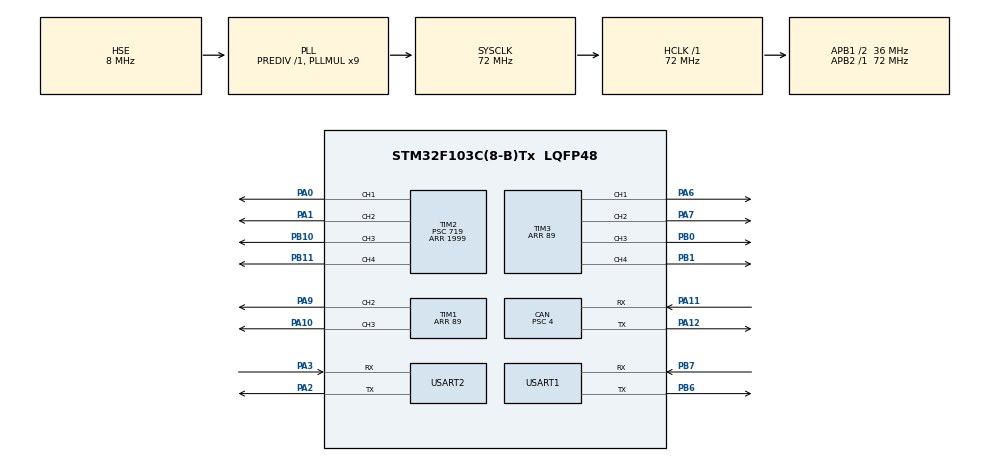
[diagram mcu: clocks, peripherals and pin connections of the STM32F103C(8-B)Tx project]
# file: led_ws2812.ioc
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CAN.BS1=CAN_BS1_4TQ
CAN.BS2=CAN_BS2_4TQ
CAN.CalculateBaudRate=1000000
CAN.CalculateTimeBit=1000
CAN.CalculateTimeQuantum=111.11111111111111
CAN.Prescaler=4
Dma.Request0=TIM3_CH1/TRIG
Dma.Request1=TIM1_CH2
Dma.TIM1_CH2.1.Direction=DMA_MEMORY_TO_PERIPH
Dma.TIM1_CH2.1.Instance=DMA1_Channel3
Dma.TIM1_CH2.1.MemDataAlignment=DMA_MDATAALIGN_BYTE
Dma.TIM1_CH2.1.MemInc=DMA_MINC_ENABLE
Dma.TIM1_CH2.1.Mode=DMA_NORMAL
Dma.TIM1_CH2.1.PeriphDataAlignment=DMA_PDATAALIGN_WORD
Dma.TIM1_CH2.1.PeriphInc=DMA_PINC_DISABLE
Dma.TIM1_CH2.1.Priority=DMA_PRIORITY_HIGH
Dma.TIM3_CH1/TRIG.0.Direction=DMA_MEMORY_TO_PERIPH
Dma.TIM3_CH1/TRIG.0.Instance=DMA1_Channel6
Dma.TIM3_CH1/TRIG.0.MemDataAlignment=DMA_MDATAALIGN_BYTE
Dma.TIM3_CH1/TRIG.0.MemInc=DMA_MINC_ENABLE
Dma.TIM3_CH1/TRIG.0.Mode=DMA_NORMAL
Dma.TIM3_CH1/TRIG.0.PeriphDataAlignment=DMA_PDATAALIGN_WORD
Dma.TIM3_CH1/TRIG.0.PeriphInc=DMA_PINC_DISABLE
Dma.TIM3_CH1/TRIG.0.Priority=DMA_PRIORITY_HIGH
Mcu.Family=STM32F1
Mcu.Name=STM32F103C(8-B)Tx
Mcu.Package=LQFP48
NVIC.DMA1_Channel3_IRQn=true\:0\:0\:false\:false\:true\:false\:true\:true
NVIC.DMA1_Channel6_IRQn=true\:0\:0\:false\:false\:true\:false\:true\:true
NVIC.PriorityGroup=NVIC_PRIORITYGROUP_4
NVIC.USART1_IRQn=true\:0\:0\:false\:false\:true\:true\:true\:true
NVIC.USART2_IRQn=true\:0\:0\:false\:false\:true\:true\:true\:true
NVIC.USB_LP_CAN1_RX0_IRQn=true\:0\:0\:false\:false\:true\:true\:true\:true
PA0-WKUP.Signal=S_TIM2_CH1_ETR
PA1.Signal=S_TIM2_CH2
PA10.Signal=S_TIM1_CH3
PA11.Mode=CAN_Activate
PA11.Signal=CAN_RX
PA12.Mode=CAN_Activate
PA12.Signal=CAN_TX
PA13.Mode=Serial_Wire
PA13.Signal=SYS_JTMS-SWDIO
PA14.Mode=Serial_Wire
PA14.Signal=SYS_JTCK-SWCLK
PA2.Mode=Asynchronous
PA2.Signal=USART2_TX
PA3.Mode=Asynchronous
PA3.Signal=USART2_RX
PA6.Signal=S_TIM3_CH1
PA7.Signal=S_TIM3_CH2
PA9.Signal=S_TIM1_CH2
PB0.Signal=S_TIM3_CH3
PB1.Signal=S_TIM3_CH4
PB10.Signal=S_TIM2_CH3
PB11.Signal=S_TIM2_CH4
PB6.Mode=Asynchronous
PB6.Signal=USART1_TX
PB7.Mode=Asynchronous
PB7.Signal=USART1_RX
PC14-OSC32_IN.Mode=LSE-External-Oscillator
PC14-OSC32_IN.Signal=RCC_OSC32_IN
PC15-OSC32_OUT.Mode=LSE-External-Oscillator
PC15-OSC32_OUT.Signal=RCC_OSC32_OUT
PD0-OSC_IN.Mode=HSE-External-Oscillator
PD0-OSC_IN.Signal=RCC_OSC_IN
PD1-OSC_OUT.Mode=HSE-External-Oscillator
PD1-OSC_OUT.Signal=RCC_OSC_OUT
ProjectManager.HeapSize=0x200
ProjectManager.StackSize=0x400
ProjectManager.TargetToolchain=MDK-ARM V5
RCC.AHBFreq_Value=72000000
RCC.APB1CLKDivider=RCC_HCLK_DIV2
RCC.APB1Freq_Value=36000000
RCC.APB1TimFreq_Value=72000000
RCC.APB2Freq_Value=72000000
RCC.APB2TimFreq_Value=72000000
RCC.HCLKFreq_Value=72000000
RCC.PLLMUL=RCC_PLL_MUL9
RCC.PLLSourceVirtual=RCC_PLLSOURCE_HSE
RCC.SYSCLKFreq_VALUE=72000000
RCC.SYSCLKSource=RCC_SYSCLKSOURCE_PLLCLK
RCC.USBFreq_Value=72000000
SH.S_TIM1_CH2.0=TIM1_CH2,PWM Generation2 CH2
SH.S_TIM1_CH3.0=TIM1_CH3,PWM Generation3 CH3
SH.S_TIM2_CH1_ETR.0=TIM2_CH1,PWM Generation1 CH1
SH.S_TIM2_CH2.0=TIM2_CH2,PWM Generation2 CH2
SH.S_TIM2_CH3.0=TIM2_CH3,PWM Generation3 CH3
SH.S_TIM2_CH4.0=TIM2_CH4,PWM Generation4 CH4
SH.S_TIM3_CH1.0=TIM3_CH1,PWM Generation1 CH1
SH.S_TIM3_CH2.0=TIM3_CH2,PWM Generation2 CH2
SH.S_TIM3_CH3.0=TIM3_CH3,PWM Generation3 CH3
SH.S_TIM3_CH4.0=TIM3_CH4,PWM Generation4 CH4
TIM1.Channel-PWM\ Generation2\ CH2=TIM_CHANNEL_2
TIM1.Channel-PWM\ Generation3\ CH3=TIM_CHANNEL_3
TIM1.Period=89
TIM2.Channel-PWM\ Generation1\ CH1=TIM_CHANNEL_1
TIM2.Channel-PWM\ Generation2\ CH2=TIM_CHANNEL_2
TIM2.Channel-PWM\ Generation3\ CH3=TIM_CHANNEL_3
TIM2.Channel-PWM\ Generation4\ CH4=TIM_CHANNEL_4
TIM2.Period=1999
TIM2.Prescaler=719
TIM2.Pulse-PWM\ Generation1\ CH1=50
TIM2.Pulse-PWM\ Generation2\ CH2=50
TIM2.Pulse-PWM\ Generation3\ CH3=50
TIM2.Pulse-PWM\ Generation4\ CH4=50
TIM3.Channel-PWM\ Generation1\ CH1=TIM_CHANNEL_1
TIM3.Channel-PWM\ Generation2\ CH2=TIM_CHANNEL_2
TIM3.Channel-PWM\ Generation3\ CH3=TIM_CHANNEL_3
TIM3.Channel-PWM\ Generation4\ CH4=TIM_CHANNEL_4
TIM3.Period=89
USART1.VirtualMode=VM_ASYNC
USART2.VirtualMode=VM_ASYNC
board=custom

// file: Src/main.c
/* USER CODE BEGIN Header */
/**
  ******************************************************************************
  * @file           : main.c
  * @brief          : Main program body
  ******************************************************************************
  * @attention
  *
  * Copyright (c) 2025 STMicroelectronics.
  * All rights reserved.
  *
  * This software is licensed under terms that can be found in the LICENSE file
  * in the root directory of this software component.
  * If no LICENSE file comes with this software, it is provided AS-IS.
  *
  ******************************************************************************
  */
/* USER CODE END Header */
#include "main.h"
#include "can.h"
#include "dma.h"
#include "tim.h"
#include "usart.h"
#include "gpio.h"

/* USER CODE BEGIN Includes */
#include <stdlib.h>
#include <string.h>

#include "bsp_led.h"
#include "app_led_effect.h"
#include "app_comm.h"
#include "app_test.h"

/* USER CODE END Includes */

/* USER CODE BEGIN PV */

extern TIM_HandleTypeDef htim1;
extern TIM_HandleTypeDef htim3;
extern UART_HandleTypeDef huart1;

/* USER CODE END PV */

void SystemClock_Config(void);

/* USER CODE BEGIN 0 */

void HAL_UART_RxCpltCallback(UART_HandleTypeDef *huart)
{
    if (huart->Instance == USART1)
    {
        // 单字节接收中断
        static uint8_t rx_byte;
        App_Comm_RxHandler(rx_byte);
        HAL_UART_Receive_IT(&huart1, &rx_byte, 1);
    }
}

/* USER CODE END 0 */

int main(void)
{

    /* MCU Configuration--------------------------------------------------------*/

    /* Reset of all peripherals, Initializes the Flash interface and the Systick. */
    HAL_Init();

    /* Configure the system clock */
    SystemClock_Config();

    /* Initialize all configured peripherals */
    MX_GPIO_Init();
    MX_DMA_Init();
    MX_TIM3_Init();
    MX_USART1_UART_Init();
    MX_CAN_Init();
    MX_TIM1_Init();
    MX_TIM2_Init();
    MX_USART2_UART_Init();
    /* USER CODE BEGIN 2 */

    // 初始化 LED 的 PWM DMA 模块、效果模块
    BSP_LED_Init();
    App_LED_Effect_Init();

		// 发送启动消息
    App_Test_UART_Send(&huart1);

    // 运行完整测试
    App_Test_AllEffects();

    // 或者运行快速演示
    // App_Test_QuickDemo();

    // 开启串口接收
    uint8_t rx_temp;
    HAL_UART_Receive_IT(&huart1, &rx_temp, 1);

  /* USER CODE END 2 */

  /* Infinite loop */
  while (1)
  {

    /* USER CODE BEGIN 3 */

		// 主循环 - 处理LED效果
    static uint32_t last_tick = 0;
    if (HAL_GetTick() - last_tick >= 10) {
        last_tick = HAL_GetTick();
        App_LED_Effect_Process();
    }

  }
  /* USER CODE END 3 */
}

void SystemClock_Config(void)
{
  RCC_OscInitTypeDef RCC_OscInitStruct = {0};
  RCC_ClkInitTypeDef RCC_ClkInitStruct = {0};

  /** Initializes the RCC Oscillators according to the specified parameters
  * in the RCC_OscInitTypeDef structure.
  */
  RCC_OscInitStruct.OscillatorType = RCC_OSCILLATORTYPE_HSE;
  RCC_OscInitStruct.HSEState = RCC_HSE_ON;
  RCC_OscInitStruct.HSEPredivValue = RCC_HSE_PREDIV_DIV1;
  RCC_OscInitStruct.HSIState = RCC_HSI_ON;
  RCC_OscInitStruct.PLL.PLLState = RCC_PLL_ON;
  RCC_OscInitStruct.PLL.PLLSource = RCC_PLLSOURCE_HSE;
  RCC_OscInitStruct.PLL.PLLMUL = RCC_PLL_MUL9;
  if (HAL_RCC_OscConfig(&RCC_OscInitStruct) != HAL_OK)
  {
    Error_Handler();
  }

  /** Initializes the CPU, AHB and APB buses clocks
  */
  RCC_ClkInitStruct.ClockType = RCC_CLOCKTYPE_HCLK|RCC_CLOCKTYPE_SYSCLK
                              |RCC_CLOCKTYPE_PCLK1|RCC_CLOCKTYPE_PCLK2;
  RCC_ClkInitStruct.SYSCLKSource = RCC_SYSCLKSOURCE_PLLCLK;
  RCC_ClkInitStruct.AHBCLKDivider = RCC_SYSCLK_DIV1;
  RCC_ClkInitStruct.APB1CLKDivider = RCC_HCLK_DIV2;
  RCC_ClkInitStruct.APB2CLKDivider = RCC_HCLK_DIV1;

  if (HAL_RCC_ClockConfig(&RCC_ClkInitStruct, FLASH_LATENCY_2) != HAL_OK)
  {
    Error_Handler();
  }
}

void Error_Handler(void)
{
  __disable_irq();
  while (1)
  {
  }
}
